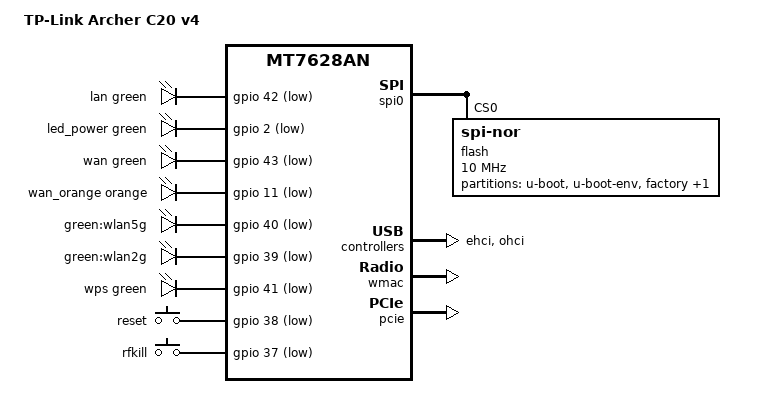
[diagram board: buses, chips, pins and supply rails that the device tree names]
#include <dt-bindings/leds/common.h>

#include "mt7628an_tplink_8m.dtsi"

/ {
	compatible = "tplink,archer-c20-v4", "mediatek,mt7628an-soc";
	model = "TP-Link Archer C20 v4";

	aliases {
		led-boot = &led_power;
		led-failsafe = &led_power;
		led-running = &led_power;
		led-upgrade = &led_power;
	};
	chosen {
		bootargs = "console=ttyS0,57600";
	};
	leds {
		compatible = "gpio-leds";

		lan {
			function = LED_FUNCTION_LAN;
			color = <LED_COLOR_ID_GREEN>;
			gpios = <&gpio 42 GPIO_ACTIVE_LOW>;
		};

		led_power: power {
			function = LED_FUNCTION_POWER;
			color = <LED_COLOR_ID_GREEN>;
			gpios = <&gpio 2 GPIO_ACTIVE_LOW>;
		};

		wan {
			function = LED_FUNCTION_WAN;
			color = <LED_COLOR_ID_GREEN>;
			gpios = <&gpio 43 GPIO_ACTIVE_LOW>;
		};

		wan_orange {
			function = LED_FUNCTION_WAN;
			color = <LED_COLOR_ID_ORANGE>;
			gpios = <&gpio 11 GPIO_ACTIVE_LOW>;
		};

		wlan5g {
			label = "green:wlan5g";
			gpios = <&gpio 40 GPIO_ACTIVE_LOW>;
			linux,default-trigger = "phy1tpt";
		};

		wlan2g {
			label = "green:wlan2g";
			gpios = <&gpio 39 GPIO_ACTIVE_LOW>;
			linux,default-trigger = "phy0tpt";
		};

		wps {
			function = LED_FUNCTION_WPS;
			color = <LED_COLOR_ID_GREEN>;
			gpios = <&gpio 41 GPIO_ACTIVE_LOW>;
		};
	};
/*
	usb_vbus: regulator {
		compatible = "regulator-fixed";
		regulator-name = "usb_vbus";
		regulator-min-microvolt = <5000000>;
		regulator-max-microvolt = <5000000>;
		gpios = <&gpio 11 GPIO_ACTIVE_HIGH>;
		enable-active-high;
	};
*/
	keys {
		compatible = "gpio-keys";

		reset {
			label = "reset";
			gpios = <&gpio 38 GPIO_ACTIVE_LOW>;
			linux,code = <KEY_RESTART>;
		};

		rfkill {
			label = "rfkill";
			gpios = <&gpio 37 GPIO_ACTIVE_LOW>;
			linux,code = <KEY_RFKILL>;
		};
	};
};

&spi0 {
	status = "okay";

	flash@0 {
		compatible = "jedec,spi-nor";
		reg = <0>;
		spi-max-frequency = <10000000>;
                #address-cells = <1>;
                #size-cells = <1>;
		/delete-node/ partitions;
		partitions {
			compatible = "fixed-partitions";
			#address-cells = <1>;
			#size-cells = <1>;

			partition@0 {
				label = "u-boot";
				reg = <0x0 0x30000>;
				read-only;
			};

			partition@30000 {
				label = "u-boot-env";
				reg = <0x30000 0x10000>;
				read-only;
			};

			factory: partition@40000 {
				label = "factory";
				reg = <0x40000 0x10000>;
				read-only;

				nvmem-layout {
					compatible = "fixed-layout";
					#address-cells = <1>;
					#size-cells = <1>;

					macaddr_factory_f100: macaddr@f100 {
						compatible = "mac-base";
						reg = <0xf100 0x6>;
						#nvmem-cell-cells = <1>;
					};

					eeprom_factory_0000: eeprom@0 {
						reg = <0x0 0x400>;
					};

					eeprom_factory_8000: eeprom@8000 {
						reg = <0x8000 0x200>;
					};
				};
			};

			partition@50000 {
				compatible = "openwrt,uimage", "denx,uimage";
				label = "firmware";
				reg = <0x50000 0xfb0000>;
			};
		};
	};
};

&ehci {
    status = "okay";
//    vbus-supply = <&usb_vbus>;
};

&ohci {
    status = "okay";
//    vbus-supply = <&usb_vbus>;
};

&wmac {
	status = "okay";

	nvmem-cells = <&eeprom_factory_0000>, <&macaddr_factory_f100 0>;
	nvmem-cell-names = "eeprom", "mac-address";

	/* Современный и правильный способ вычесть 2 из MAC-адреса */
	mac-address-increment = <(-2)>;
};

&ethernet {
	nvmem-cells = <&macaddr_factory_f100 0>;
	nvmem-cell-names = "mac-address";
};

&esw {
	mediatek,portmap = <0x3e>;
};

&state_default {
	gpio {
		groups = "i2s", "gpio", "refclk", "p0led_an", "p1led_an", "p2led_an", "p3led_an", "p4led_an", "wdt";
		function = "gpio";
	};
};

&pcie {
	status = "okay";
};

&pcie0 {
	mt76@0,0 {
		reg = <0x0000 0 0 0 0>;
		ieee80211-freq-limit = <5000000 6000000>;
		
		/* Ссылаемся на новые актуальные метки из nvmem-layout */
		nvmem-cells = <&eeprom_factory_8000>, <&macaddr_factory_f100 0>;
		nvmem-cell-names = "eeprom", "mac-address";

		/* Вычитаем 1 из базового MAC-адреса, как было задумано вендором (-1) */
		mac-address-increment = <(-1)>;
	};
};
